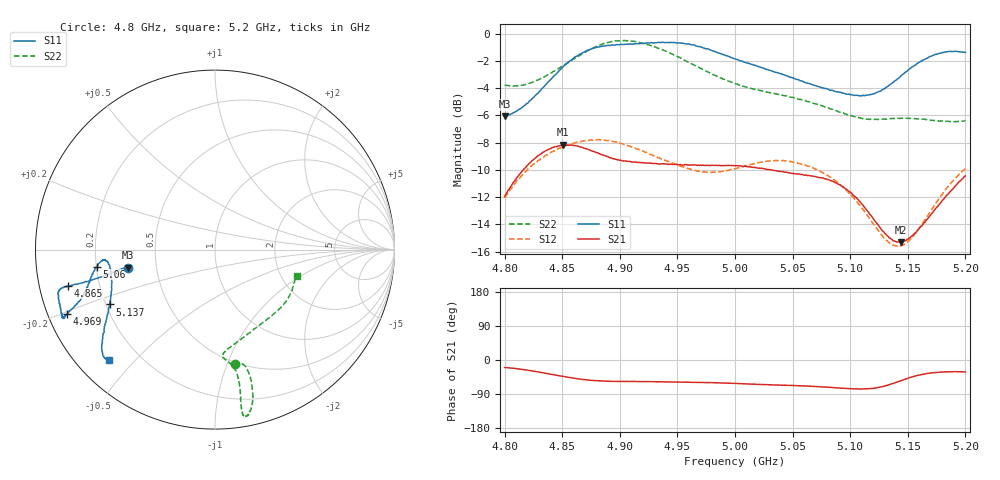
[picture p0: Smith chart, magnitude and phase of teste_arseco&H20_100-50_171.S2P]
! Network Analyzer HP8722D
! Hewlett-Packard
! Data name: Linha & Wilkinson
! Saver's name: Rodrigo Anjos
! Comments: Teste da utilização de aquisição
! continua pelo VNA HP8722D
! Time and date: 6/5/2025 13:59
!  Frequency  S11  S21  S12  S22
# HZ  S  MA R 50
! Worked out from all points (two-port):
!   401 points, 4.8 GHz to 5.2 GHz, reference 50 ohm
!   highest |S21| = -8.16 dB at 4.851 GHz (marker M1); lowest = -15.3 dB at 5.144 GHz (marker M2)
!   |S21| within 3 dB of the highest: 4.806 GHz to 5.092 GHz (286.1 MHz wide, 5.78 % of centre); 5.191435 GHz to end of sweep
!   lowest |S11| = -6.1 dB at 4.8 GHz (marker M3), VSWR 2.98, Z = 16.9 - j4.56 ohm
!   |S11| at or under -10 dB: nowhere
!   |S22| runs from -6.5 to -0.5 dB; largest |S21 - S12| = 0.62
!   S11 on the Smith chart (normalised r, x): 4.8 GHz: 0.34, -0.09; 4.865 GHz: 0.09, -0.12; 4.969 GHz: 0.06, -0.21; 5.06 GHz: 0.20, -0.07; 5.137 GHz: 0.22, -0.23; 5.2 GHz: 0.09, -0.42
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4.8e9  0.4973 -168.2  0.2527 -19.8  0.2496 -141.0  0.6479 -80.3
4.823e9  0.572 -167.6  0.3386 -28.4  0.3258 -144.1  0.6611 -76.1
4.851e9  0.7573 -166.0  0.3909 -43.6  0.3847 -149.5  0.7657 -74.6
4.865e9  0.8416 -166.2  0.3849 -50.1  0.4009 -151.9  0.8322 -75.4
4.867e9  0.8477 -166.0  0.3836 -51.0  0.4025 -152.2  0.843 -75.4
4.88e9  0.893 -165.6  0.3658 -54.6  0.4076 -154.4  0.8997 -76.8
4.899e9  0.9118 -162.9  0.3443 -56.7  0.3973 -156.9  0.9422 -79.2
4.914e9  0.9206 -159.9  0.3375 -56.6  0.3784 -157.2  0.9368 -80.3
4.934e9  0.9301 -156.5  0.3323 -57.6  0.3507 -155.8  0.882 -80.5
4.969e9  0.8982 -156.5  0.3284 -59.2  0.3124 -147.4  0.752 -79.8
5e9  0.8092 -159.3  0.3273 -61.9  0.3195 -137.3  0.6558 -81.3
5.035e9  0.722 -165.4  0.3143 -66.0  0.3427 -134.4  0.6026 -85.8
5.06e9  0.6641 -171.8  0.3024 -68.4  0.33 -136.2  0.5684 -84.2
5.067e9  0.6507 -173.2  0.3005 -69.3  0.323 -136.9  0.5575 -82.7
5.082e9  0.6209 -174.8  0.2903 -72.0  0.2983 -138.5  0.5317 -77.2
5.101e9  0.598 -172.1  0.2601 -76.0  0.2547 -138.9  0.4999 -66.5
5.116e9  0.5966 -165.6  0.2206 -76.0  0.212 -135.5  0.4857 -55.6
5.134e9  0.6474 -154.3  0.1776 -65.2  0.1703 -120.6  0.4872 -43.3
5.137e9  0.6618 -152.5  0.1739 -62.1  0.1675 -116.6  0.4891 -41.4
5.144e9  0.7011 -148.8  0.1714 -54.4  0.166 -107.4  0.4892 -37.3
5.172e9  0.8344 -139.2  0.2219 -33.7  0.2302 -81.2  0.4801 -24.6
5.2e9  0.854 -133.8  0.3007 -31.5  0.3193 -77.0  0.4784 -17.7
